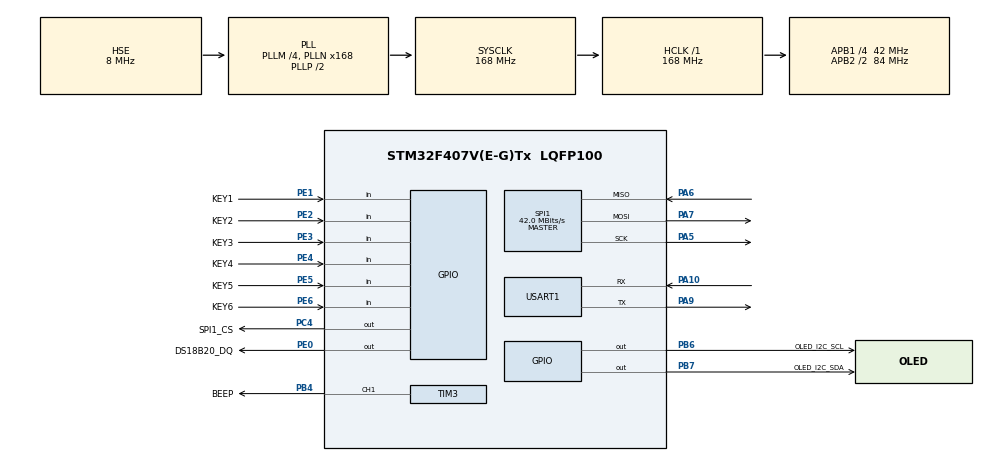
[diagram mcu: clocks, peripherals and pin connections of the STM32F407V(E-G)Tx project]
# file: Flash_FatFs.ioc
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Dma.Request0=USART1_RX
Dma.USART1_RX.0.Direction=DMA_PERIPH_TO_MEMORY
Dma.USART1_RX.0.FIFOMode=DMA_FIFOMODE_DISABLE
Dma.USART1_RX.0.Instance=DMA2_Stream2
Dma.USART1_RX.0.MemDataAlignment=DMA_MDATAALIGN_BYTE
Dma.USART1_RX.0.MemInc=DMA_MINC_ENABLE
Dma.USART1_RX.0.Mode=DMA_NORMAL
Dma.USART1_RX.0.PeriphDataAlignment=DMA_PDATAALIGN_BYTE
Dma.USART1_RX.0.PeriphInc=DMA_PINC_DISABLE
Dma.USART1_RX.0.Priority=DMA_PRIORITY_LOW
FATFS._MAX_SS=4096
FREERTOS.HEAP_NUMBER=3
FREERTOS.Tasks01=MainTask,32,2048,StartMainTask,Default,NULL,Dynamic,NULL,NULL;keyTask,24,2048,StartKeyTask,Default,NULL,Dynamic,NULL,NULL;beepTask,24,2048,StartBeepTask,Default,NULL,Dynamic,NULL,NULL;GUITask,8,2048,StartGUITask,Default,NULL,Dynamic,NULL,NULL;UartTask,24,2048,StartUartTask,Default,NULL,Dynamic,NULL,NULL
FREERTOS.configENABLE_FPU=0
FREERTOS.configTOTAL_HEAP_SIZE=80000
Mcu.Family=STM32F4
Mcu.Name=STM32F407V(E-G)Tx
Mcu.Package=LQFP100
NVIC.DMA2_Stream2_IRQn=true\:5\:0\:false\:false\:true\:true\:false\:true
NVIC.PriorityGroup=NVIC_PRIORITYGROUP_4
NVIC.TIM8_TRG_COM_TIM14_IRQn=true\:0\:0\:false\:false\:true\:false\:false\:true
NVIC.TimeBase=TIM8_TRG_COM_TIM14_IRQn
NVIC.TimeBaseIP=TIM14
NVIC.USART1_IRQn=true\:5\:0\:true\:false\:true\:false\:true\:true
PA10.Mode=Asynchronous
PA10.Signal=USART1_RX
PA13.Mode=Serial_Wire
PA13.Signal=SYS_JTMS-SWDIO
PA14.Mode=Serial_Wire
PA14.Signal=SYS_JTCK-SWCLK
PA5.Mode=Full_Duplex_Master
PA5.Signal=SPI1_SCK
PA6.Mode=Full_Duplex_Master
PA6.Signal=SPI1_MISO
PA7.Mode=Full_Duplex_Master
PA7.Signal=SPI1_MOSI
PA9.Mode=Asynchronous
PA9.Signal=USART1_TX
PB4.GPIO_Label=BEEP
PB4.Signal=S_TIM3_CH1
PB6.GPIO_Label=OLED_I2C_SCL
PB6.Signal=GPIO_Output
PB7.GPIO_Label=OLED_I2C_SDA
PB7.Signal=GPIO_Output
PC14-OSC32_IN.Mode=LSE-External-Oscillator
PC14-OSC32_IN.Signal=RCC_OSC32_IN
PC15-OSC32_OUT.Mode=LSE-External-Oscillator
PC15-OSC32_OUT.Signal=RCC_OSC32_OUT
PC4.GPIO_Label=SPI1_CS
PC4.PinState=GPIO_PIN_SET
PC4.Signal=GPIO_Output
PE0.GPIO_Label=DS18B20_DQ
PE0.Signal=GPIO_Output
PE1.GPIO_Label=KEY1
PE1.GPIO_PuPd=GPIO_PULLUP
PE1.Signal=GPIO_Input
PE2.GPIO_Label=KEY2
PE2.GPIO_PuPd=GPIO_PULLUP
PE2.Signal=GPIO_Input
PE3.GPIO_Label=KEY3
PE3.GPIO_PuPd=GPIO_PULLUP
PE3.Signal=GPIO_Input
PE4.GPIO_Label=KEY4
PE4.GPIO_PuPd=GPIO_PULLUP
PE4.Signal=GPIO_Input
PE5.GPIO_Label=KEY5
PE5.GPIO_PuPd=GPIO_PULLDOWN
PE5.Signal=GPIO_Input
PE6.GPIO_Label=KEY6
PE6.GPIO_PuPd=GPIO_PULLDOWN
PE6.Signal=GPIO_Input
PH0-OSC_IN.Mode=HSE-External-Oscillator
PH0-OSC_IN.Signal=RCC_OSC_IN
PH1-OSC_OUT.Mode=HSE-External-Oscillator
PH1-OSC_OUT.Signal=RCC_OSC_OUT
ProjectManager.HeapSize=0x4000
ProjectManager.StackSize=0x4000
ProjectManager.TargetToolchain=SW4STM32
RCC.48MHZClocksFreq_Value=84000000
RCC.AHBFreq_Value=168000000
RCC.APB1CLKDivider=RCC_HCLK_DIV4
RCC.APB1Freq_Value=42000000
RCC.APB1TimFreq_Value=84000000
RCC.APB2CLKDivider=RCC_HCLK_DIV2
RCC.APB2Freq_Value=84000000
RCC.APB2TimFreq_Value=168000000
RCC.CortexFreq_Value=168000000
RCC.HCLKFreq_Value=168000000
RCC.HSE_VALUE=8000000
RCC.HSI_VALUE=16000000
RCC.PLLM=4
RCC.PLLN=168
RCC.PLLSourceVirtual=RCC_PLLSOURCE_HSE
RCC.RCC_RTC_Clock_Source=RCC_RTCCLKSOURCE_LSE
RCC.SYSCLKFreq_VALUE=168000000
RCC.SYSCLKSource=RCC_SYSCLKSOURCE_PLLCLK
RCC.VCOOutputFreq_Value=336000000
RTC.Date=16
RTC.Format=RTC_FORMAT_BIN
RTC.Minutes=35
RTC.Month=RTC_MONTH_DECEMBER
RTC.WeekDay=RTC_WEEKDAY_WEDNESDAY
RTC.Year=20
SH.S_TIM3_CH1.0=TIM3_CH1,PWM Generation1 CH1
SPI1.CalculateBaudRate=42.0 MBits/s
SPI1.Direction=SPI_DIRECTION_2LINES
SPI1.Mode=SPI_MODE_MASTER
SPI1.VirtualType=VM_MASTER
TIM3.AutoReloadPreload=TIM_AUTORELOAD_PRELOAD_ENABLE
TIM3.Channel-PWM\ Generation1\ CH1=TIM_CHANNEL_1
TIM3.OCPolarity_1=TIM_OCPOLARITY_LOW
TIM3.Period=299
TIM3.Prescaler=83
TIM3.Pulse-PWM\ Generation1\ CH1=200
USART1.VirtualMode=VM_ASYNC
VP_FATFS_VS_Generic.Mode=User_defined
VP_FREERTOS_VS_CMSIS_V2.Mode=CMSIS_V2
VP_RTC_VS_RTC_Activate.Mode=RTC_Enabled
VP_RTC_VS_RTC_Calendar.Mode=RTC_Calendar
VP_SYS_VS_tim14.Mode=TIM14
board=custom

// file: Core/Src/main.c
/* USER CODE BEGIN Header */
/**
  ******************************************************************************
  * @file           : main.c
  * @brief          : Main program body
  ******************************************************************************
  * @attention
  *
  * <h2><center>&copy; Copyright (c) 2020 STMicroelectronics.
  * All rights reserved.</center></h2>
  *
  * This software component is licensed by ST under Ultimate Liberty license
  * SLA0044, the "License"; You may not use this file except in compliance with
  * the License. You may obtain a copy of the License at:
  *                             www.st.com/SLA0044
  *
  ******************************************************************************
  */
/* USER CODE END Header */
#include "main.h"
#include "cmsis_os.h"
#include "dma.h"
#include "fatfs.h"
#include "rtc.h"
#include "spi.h"
#include "tim.h"
#include "usart.h"
#include "gpio.h"

/* USER CODE BEGIN Includes */
#include <stdio.h>
#include <string.h>
#include <stdbool.h>
#include "w25qxx.h"
/* USER CODE END Includes */

/* USER CODE BEGIN PD */
#define testW25Q128 0
#define testFATFS 0
/* USER CODE END PD */

void SystemClock_Config(void);
void MX_FREERTOS_Init(void);

/* USER CODE BEGIN 0 */
void TestW25Q128(void) {
    uint8_t dat[4096] = "1234567890-1234567890-1234567890-1234567890-1234567890-\0";
    uint8_t read_buf[4096] = {0};
    uint16_t i;
    uint16_t *pDat = (uint16_t *) dat;
    for (i = 0; i < sizeof(dat) / 2; ++i) {
        pDat[i] = i * i;
    }

    W25QXX_Init(); //初始化FLASH器件，读取器件ID，以此判断器件型号
    uint16_t device_id = W25QXX_ReadID();
    printf("device_id = 0x%04X\r\n", device_id);
    HAL_Delay(500);
    uint32_t addr;
    for (int j = 0; j < 1; ++j) {//只测试一个扇区
        addr = 0x1000 * j;
        //读扇区
        printf("Read data before write \r\n");
        memset(read_buf, 0, sizeof(read_buf));
        W25QXX_Read(read_buf, addr, sizeof(read_buf));
        printf("read data is:\r\n");
        for (i = 0; i < sizeof(read_buf); ++i) {
            printf("%02X ", read_buf[i]);
        }
        printf("\r\n");
        HAL_Delay(20);

        //擦除该扇区
        printf("Erase sector %lu\r\n", addr / 0x1000);
        W25QXX_Erase_Sector(addr);
        HAL_Delay(20);
        //写数据
        printf("Write data\r\n");
        W25QXX_Write(dat, addr, sizeof(dat));
        HAL_Delay(20);

        //再次读数据
        printf("Read data after write\r\n");
        memset(read_buf, 0, sizeof(read_buf));
        W25QXX_Read(read_buf, addr, sizeof(read_buf));
        printf("read data is:\r\n");
        for (i = 0; i < sizeof(read_buf); ++i) {
            printf("%02X ", read_buf[i]);
        }
        printf("\r\n");
        HAL_Delay(20);

        uint8_t chkok = 1;
        for (i = 0; i < sizeof(dat); ++i) {
            if (dat[i] != read_buf[i]) {
                chkok = 0;
                break;
            }
        }
        printf("sector %lu write %s!\r\n", addr / 0x1000, chkok ? "ok" : "error");
        if (!chkok) {
            break;
        }
    }
}

void fs_test(void) {
    BYTE work[4096]; // FATFS工作缓冲区
    FATFS fs;//文件系统对象
    FIL fil;//文件对象
    FRESULT res;//操作返回结果
    UINT i;//临时变量
    BYTE mm[500];// 临时数组

    res = f_mount(&fs, "0:", 1);
    if (res == 0X0D) { // FLASH磁盘,FAT文件系统错误，重新格式化FLASH
        printf("Flash Disk Formatting...\r\n");//格式化FLASH
        res = f_mkfs("0:", FM_ANY, 0, work, sizeof(work));
        if (res != FR_OK) {
            printf("mkfs error.\r\n");
        }
    }
    if (res == FR_OK) {
        printf("FATFS Init ok!\r\n");
    }

    res = f_open(&fil, "0:/test.txt", FA_CREATE_NEW);
    if (res != FR_OK && res != FR_EXIST) {
        printf("create file error.\r\n");
    }
    if (res == FR_EXIST) {
        res = f_open(&fil, "0:/test.txt", FA_WRITE | FA_READ | FA_OPEN_APPEND);
    }
    if (res != FR_OK) {
        printf("open file error.\r\n");
    } else {
        printf("open file ok.\r\n");
        f_puts("Hello, World!\r\n你好世界\r\n", &fil);
        printf("file size:%lu Bytes.\r\n", f_size(&fil));

        memset(mm, 0x0, 500);
        f_lseek(&fil, 0);
        res = f_read(&fil, mm, 500, &i);
        if (res == FR_OK) {
            printf("read size:%d Bytes.\r\n%s", i, mm);
        } else {
            printf("read error!\r\n");
        }
        f_close(&fil);
    }
    /*卸载文件系统*/
    f_mount(0, "0:", 0);
}

void fs_Init(bool breset) {
    BYTE work[4096]; // FATFS工作缓冲区
    FATFS fs;//文件系统对象
    FIL fil;//文件对象
    FRESULT res;//操作返回结果

    res = f_mount(&fs, "0:", 1);
    if (res == 0X0D) { // FLASH磁盘,FAT文件系统错误，重新格式化FLASH
        printf("Flash Disk Formatting...\r\n");//格式化FLASH
        res = f_mkfs("0:", FM_ANY, 0, work, sizeof(work));
        if (res != FR_OK) {
            printf("mkfs error.\r\n");
        }
    }
    if (res == FR_OK) {
        printf("FATFS Init ok!\r\n");
    }

    if (breset) {
        res = f_open(&fil, "0:/alarm.txt", FA_CREATE_ALWAYS);
    } else {
        res = f_open(&fil, "0:/alarm.txt", FA_CREATE_NEW);
    }
    if (res != FR_OK && res != FR_EXIST) {
        printf("create file error.\r\n");
    } else {
        printf("create alarm.txt ok\r\n");
        f_close(&fil);
    }

    if (breset) {
        res = f_open(&fil, "0:/para.txt", FA_CREATE_ALWAYS);
    } else {
        res = f_open(&fil, "0:/para.txt", FA_CREATE_NEW);
    }
    if (res != FR_OK && res != FR_EXIST) {
        printf("create file error.\r\n");
    } else {
        printf("create para.txt ok\r\n");
        f_close(&fil);
    }
}

/* USER CODE END 0 */

int main(void)
{

  /* MCU Configuration--------------------------------------------------------*/

  /* Reset of all peripherals, Initializes the Flash interface and the Systick. */
  HAL_Init();

  /* Configure the system clock */
  SystemClock_Config();

  /* Initialize all configured peripherals */
  MX_GPIO_Init();
  MX_DMA_Init();
  MX_USART1_UART_Init();
  MX_TIM3_Init();
  MX_SPI1_Init();
  MX_FATFS_Init();
  MX_RTC_Init();
  /* USER CODE BEGIN 2 */
    HAL_Delay(1000);
#if testW25Q128
    TestW25Q128();
#endif
#if testFATFS
    fs_test();
    HAL_Delay(10000);
#endif
    fs_Init(false);
  /* USER CODE END 2 */

  /* Init scheduler */
  osKernelInitialize();  /* Call init function for freertos objects (in freertos.c) */
  MX_FREERTOS_Init();
  /* Start scheduler */
  osKernelStart();

  /* We should never get here as control is now taken by the scheduler */
  /* Infinite loop */
    while (1) {

    }
}

void SystemClock_Config(void)
{
  RCC_OscInitTypeDef RCC_OscInitStruct = {0};
  RCC_ClkInitTypeDef RCC_ClkInitStruct = {0};
  RCC_PeriphCLKInitTypeDef PeriphClkInitStruct = {0};

  /** Configure the main internal regulator output voltage
  */
  __HAL_RCC_PWR_CLK_ENABLE();
  __HAL_PWR_VOLTAGESCALING_CONFIG(PWR_REGULATOR_VOLTAGE_SCALE1);
  /** Initializes the RCC Oscillators according to the specified parameters
  * in the RCC_OscInitTypeDef structure.
  */
  RCC_OscInitStruct.OscillatorType = RCC_OSCILLATORTYPE_HSE|RCC_OSCILLATORTYPE_LSE;
  RCC_OscInitStruct.HSEState = RCC_HSE_ON;
  RCC_OscInitStruct.LSEState = RCC_LSE_ON;
  RCC_OscInitStruct.PLL.PLLState = RCC_PLL_ON;
  RCC_OscInitStruct.PLL.PLLSource = RCC_PLLSOURCE_HSE;
  RCC_OscInitStruct.PLL.PLLM = 4;
  RCC_OscInitStruct.PLL.PLLN = 168;
  RCC_OscInitStruct.PLL.PLLP = RCC_PLLP_DIV2;
  RCC_OscInitStruct.PLL.PLLQ = 4;
  if (HAL_RCC_OscConfig(&RCC_OscInitStruct) != HAL_OK)
  {
    Error_Handler();
  }
  /** Initializes the CPU, AHB and APB buses clocks
  */
  RCC_ClkInitStruct.ClockType = RCC_CLOCKTYPE_HCLK|RCC_CLOCKTYPE_SYSCLK
                              |RCC_CLOCKTYPE_PCLK1|RCC_CLOCKTYPE_PCLK2;
  RCC_ClkInitStruct.SYSCLKSource = RCC_SYSCLKSOURCE_PLLCLK;
  RCC_ClkInitStruct.AHBCLKDivider = RCC_SYSCLK_DIV1;
  RCC_ClkInitStruct.APB1CLKDivider = RCC_HCLK_DIV4;
  RCC_ClkInitStruct.APB2CLKDivider = RCC_HCLK_DIV2;

  if (HAL_RCC_ClockConfig(&RCC_ClkInitStruct, FLASH_LATENCY_5) != HAL_OK)
  {
    Error_Handler();
  }
  PeriphClkInitStruct.PeriphClockSelection = RCC_PERIPHCLK_RTC;
  PeriphClkInitStruct.RTCClockSelection = RCC_RTCCLKSOURCE_LSE;
  if (HAL_RCCEx_PeriphCLKConfig(&PeriphClkInitStruct) != HAL_OK)
  {
    Error_Handler();
  }
}

 /**
  * @brief  Period elapsed callback in non blocking mode
  * @note   This function is called  when TIM14 interrupt took place, inside
  * HAL_TIM_IRQHandler(). It makes a direct call to HAL_IncTick() to increment
  * a global variable "uwTick" used as application time base.
  * @param  htim : TIM handle
  * @retval None
  */
void HAL_TIM_PeriodElapsedCallback(TIM_HandleTypeDef *htim)
{
  if (htim->Instance == TIM14) {
    HAL_IncTick();
  }
}

void Error_Handler(void)
{
    __disable_irq();
    while (1) {
    }
}

/************************ (C) COPYRIGHT STMicroelectronics *****END OF FILE****/

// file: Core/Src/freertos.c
/* USER CODE BEGIN Header */
/**
  ******************************************************************************
  * File Name          : freertos.c
  * Description        : Code for freertos applications
  ******************************************************************************
  * @attention
  *
  * <h2><center>&copy; Copyright (c) 2020 STMicroelectronics.
  * All rights reserved.</center></h2>
  *
  * This software component is licensed by ST under Ultimate Liberty license
  * SLA0044, the "License"; You may not use this file except in compliance with
  * the License. You may obtain a copy of the License at:
  *                             www.st.com/SLA0044
  *
  ******************************************************************************
  */
/* USER CODE END Header */

#include "FreeRTOS.h"
#include "task.h"
#include "main.h"
#include "cmsis_os.h"

/* USER CODE BEGIN Includes */
#include <stdio.h>
#include <string.h>
#include <stdbool.h>
#include <stdlib.h>
#include "tim.h"
#include "GUI.h"
#include "DS_18B20.h"
#include "usart.h"
#include "w25qxx.h"
#include "fatfs.h"
#include "rtc.h"
/* USER CODE END Includes */

/* USER CODE BEGIN PTD */
extern GUI_CONST_STORAGE GUI_BITMAP bmCN_bilibiliB;
extern GUI_FLASH const GUI_FONT GUI_FontHZ_SimSun_12;
/* USER CODE END PTD */

/* USER CODE BEGIN PD */
#define SET_ADDR (10 * 4096)
/* USER CODE END PD */

/* USER CODE BEGIN Variables */
bool beep_switch = false;
bool saveUartData_flag = false;

float temp;
int temp_max = 40;
int alarm_time = 5;
/* USER CODE END Variables */
/* Definitions for MainTask */
osThreadId_t MainTaskHandle;
const osThreadAttr_t MainTask_attributes = {
        .name = "MainTask",
        .priority = (osPriority_t) osPriorityAboveNormal,
        .stack_size = 2048 * 4
};
/* Definitions for keyTask */
osThreadId_t keyTaskHandle;
const osThreadAttr_t keyTask_attributes = {
        .name = "keyTask",
        .priority = (osPriority_t) osPriorityNormal,
        .stack_size = 2048 * 4
};
/* Definitions for beepTask */
osThreadId_t beepTaskHandle;
const osThreadAttr_t beepTask_attributes = {
        .name = "beepTask",
        .priority = (osPriority_t) osPriorityNormal,
        .stack_size = 2048 * 4
};
/* Definitions for GUITask */
osThreadId_t GUITaskHandle;
const osThreadAttr_t GUITask_attributes = {
        .name = "GUITask",
        .priority = (osPriority_t) osPriorityLow,
        .stack_size = 2048 * 4
};
/* Definitions for UartTask */
osThreadId_t UartTaskHandle;
const osThreadAttr_t UartTask_attributes = {
        .name = "UartTask",
        .priority = (osPriority_t) osPriorityNormal,
        .stack_size = 2048 * 4
};

/* USER CODE BEGIN FunctionPrototypes */
void SaveAlarmSet(uint32_t addr, int setval);

int LoadAlarmSet(uint32_t addr);

void SavePara(void);

void LoadPara(void);

void SaveAlarm(float alarm_temp);

void PrintfAlarm(void);

void SaveUartData(uint8_t *recv, int len);

void PrintfUartData(void);

/* USER CODE END FunctionPrototypes */

void StartMainTask(void *argument);

void StartKeyTask(void *argument);

void StartBeepTask(void *argument);

void StartGUITask(void *argument);

void StartUartTask(void *argument);

void MX_FREERTOS_Init(void); /* (MISRA C 2004 rule 8.1) */

void MX_FREERTOS_Init(void) {

    /* Create the thread(s) */
    /* creation of MainTask */
    MainTaskHandle = osThreadNew(StartMainTask, NULL, &MainTask_attributes);

    /* creation of keyTask */
    keyTaskHandle = osThreadNew(StartKeyTask, NULL, &keyTask_attributes);

    /* creation of beepTask */
    beepTaskHandle = osThreadNew(StartBeepTask, NULL, &beepTask_attributes);

    /* creation of GUITask */
    GUITaskHandle = osThreadNew(StartGUITask, NULL, &GUITask_attributes);

    /* creation of UartTask */
    UartTaskHandle = osThreadNew(StartUartTask, NULL, &UartTask_attributes);

}

void StartMainTask(void *argument) {
    /* USER CODE BEGIN StartMainTask */
    ds18b20_init();
    W25QXX_Init();
    printf("W25QXX FLASH ID = 0x%04X\r\n", W25QXX_ReadID());
    int val = LoadAlarmSet(SET_ADDR);
    if (val > -55 && val < 125) {
        temp_max = val;
        printf("temp max = %d C\r\n", temp_max);
    }

    LoadPara();

    uint32_t tick = 0;
    uint32_t tick2 = 0;
    /* Infinite loop */
    for (;;) {
        if (osKernelGetTickCount() >= tick) {//100ms 读取一次
            tick = osKernelGetTickCount() + 100;
            temp = ds18b20_read();
//            printf("temperature = %5.1f C\r\n", temp);

            if (temp > temp_max) {
                beep_switch = true;
            } else {
                beep_switch = false;
            }
        }

        if (osKernelGetTickCount() > tick2 + 1000) {
            tick2 = osKernelGetTickCount();
            ReadRTCDateTime();
        }

        osDelay(1);
    }
    /* USER CODE END StartMainTask */
}

void StartKeyTask(void *argument) {
    /* USER CODE BEGIN StartKeyTask */
    uint8_t key_state;
    /* Infinite loop */
    for (;;) {
        //扫描按键
        key_state = 0;
        if (HAL_GPIO_ReadPin(KEY1_GPIO_Port, KEY1_Pin) == GPIO_PIN_RESET) {
            osDelay(10);
            if (HAL_GPIO_ReadPin(KEY1_GPIO_Port, KEY1_Pin) == GPIO_PIN_RESET) {
                key_state = 1;
            }
            while (HAL_GPIO_ReadPin(KEY1_GPIO_Port, KEY1_Pin) == GPIO_PIN_RESET) {
                osDelay(1);
            }
        } else if (HAL_GPIO_ReadPin(KEY2_GPIO_Port, KEY2_Pin) == GPIO_PIN_RESET) {
            osDelay(10);
            if (HAL_GPIO_ReadPin(KEY2_GPIO_Port, KEY2_Pin) == GPIO_PIN_RESET) {
                key_state = 2;
            }
            while (HAL_GPIO_ReadPin(KEY2_GPIO_Port, KEY2_Pin) == GPIO_PIN_RESET) {
                osDelay(1);
            }
        } else if (HAL_GPIO_ReadPin(KEY3_GPIO_Port, KEY3_Pin) == GPIO_PIN_RESET) {
            osDelay(10);
            if (HAL_GPIO_ReadPin(KEY3_GPIO_Port, KEY3_Pin) == GPIO_PIN_RESET) {
                key_state = 3;
            }
            while (HAL_GPIO_ReadPin(KEY3_GPIO_Port, KEY3_Pin) == GPIO_PIN_RESET) {
                osDelay(1);
            }
        } else if (HAL_GPIO_ReadPin(KEY4_GPIO_Port, KEY4_Pin) == GPIO_PIN_RESET) {
            osDelay(10);
            if (HAL_GPIO_ReadPin(KEY4_GPIO_Port, KEY4_Pin) == GPIO_PIN_RESET) {
                key_state = 4;
            }
            while (HAL_GPIO_ReadPin(KEY4_GPIO_Port, KEY4_Pin) == GPIO_PIN_RESET) {
                osDelay(1);
            }
        } else if (HAL_GPIO_ReadPin(KEY5_GPIO_Port, KEY5_Pin) == GPIO_PIN_SET) {
            osDelay(10);
            if (HAL_GPIO_ReadPin(KEY5_GPIO_Port, KEY5_Pin) == GPIO_PIN_SET) {
                key_state = 5;
            }
            while (HAL_GPIO_ReadPin(KEY5_GPIO_Port, KEY5_Pin) == GPIO_PIN_SET) {
                osDelay(1);
            }
        } else if (HAL_GPIO_ReadPin(KEY6_GPIO_Port, KEY6_Pin) == GPIO_PIN_SET) {
            osDelay(10);
            if (HAL_GPIO_ReadPin(KEY6_GPIO_Port, KEY6_Pin) == GPIO_PIN_SET) {
                key_state = 6;
            }
            while (HAL_GPIO_ReadPin(KEY6_GPIO_Port, KEY6_Pin) == GPIO_PIN_SET) {
                osDelay(1);
            }
        }

        //按键触发控制
        switch (key_state) {
            case 1://增加温度上限
                temp_max++;
                SaveAlarmSet(SET_ADDR, temp_max);
                SavePara();
                break;

            case 2://减少温度上限
                temp_max--;
                SaveAlarmSet(SET_ADDR, temp_max);
                SavePara();
                break;

            case 3://打印报警记录
                PrintfAlarm();
                break;

            case 4://存储串口数据
                f_unlink("0:/recv.txt");
                printf("Please send data from uart\r\n");
                saveUartData_flag = true;
                break;

            case 5://打印存储的串口数据
                if (saveUartData_flag == false) {
                    PrintfUartData();
                }
                break;

            case 6:
                break;

            default:
                break;
        }
        osDelay(1);
    }
    /* USER CODE END StartKeyTask */
}

void StartBeepTask(void *argument) {
    /* USER CODE BEGIN StartBeepTask */
    uint32_t tick = osKernelGetTickCount() + 5000;
    /* Infinite loop */
    for (;;) {
        if (beep_switch == true) {
            if (osKernelGetTickCount() >= tick) {//报警一次嘀嘀嘀
                for (int i = 0; i < 3; ++i) {
                    HAL_TIM_PWM_Start(&htim3, TIM_CHANNEL_1);//使能输出
                    osDelay(100);
                    HAL_TIM_PWM_Stop(&htim3, TIM_CHANNEL_1);
                    osDelay(100);
                }
                printf("The current temperature is too high!(%5.1f C)\r\n", temp);
                SaveAlarm(temp);
                tick = osKernelGetTickCount() + alarm_time * 1000;
            }
        }
        osDelay(1);
    }
    /* USER CODE END StartBeepTask */
}

void StartGUITask(void *argument) {
    /* USER CODE BEGIN StartGUITask */
    char show_data[30];

    GUI_Init();
    GUI_DrawBitmap(&bmCN_bilibiliB, 0, 0);
    GUI_Update();//刷新显示
    osDelay(1000);
    GUI_Clear();
    GUI_SetFont(&GUI_FontHZ_SimSun_12);
    GUI_DispString("学号姓名界面\n");
    GUI_DispStringAt("学号：18042209\n", 0, 20);
    GUI_DispString("姓名：陈俊煜\n");
    GUI_DispString("课程：嵌入式系统实验\n");
    GUI_Update();//刷新显示
    osDelay(1000);

    uint32_t tick = osKernelGetTickCount() + 100;
    /* Infinite loop */
    for (;;) {
        if (osKernelGetTickCount() >= tick) {//100ms 显示一次
            tick = osKernelGetTickCount() + 100;
            GUI_Clear();
            sprintf(show_data, "%d.%d.%d %02d:%02d:%02d", RTC_Year, RTC_Mon, RTC_Dat, RTC_Hour, RTC_Min, RTC_Sec);
            GUI_DispStringAt(show_data, 0, 0);
            sprintf(show_data, "温度：%5.1f ℃", temp);
            GUI_DispStringAt(show_data, 0, 16);
            sprintf(show_data, "<温度上限>：%3d ℃", temp_max);
            GUI_DispStringAt(show_data, 0, 32);
            sprintf(show_data, "<报警间隔>：%3d 秒", alarm_time);
            GUI_DispStringAt(show_data, 0, 48);
            GUI_Update();//刷新显示
        }
        osDelay(1);
    }
    /* USER CODE END StartGUITask */
}

void StartUartTask(void *argument) {
    /* USER CODE BEGIN StartUartTask */
    uint32_t tick = 0;

    __HAL_UART_ENABLE_IT(&huart1, UART_IT_IDLE);//使能idle中断
    HAL_UART_Receive_DMA(&huart1, dma_buf, MAX_BUF_LEN);
    /* Infinite loop */
    for (;;) {
        if (saveUartData_flag) {
            if (recv_len > 0) {
                tick = osKernelGetTickCount();
//                printf("%s", dma_buf);
                SaveUartData(dma_buf, recv_len);
                recv_len = 0;
            }
            if (osKernelGetTickCount() > tick + 1000 && tick > 0) {
                tick = 0;
                saveUartData_flag = false;
            }
        } else {
            if (recv_len > 0) {
//          printf("%s", dma_buf);
                if (strstr((char *) dma_buf, "Set Temp Max = ") != NULL) {
                    int recv_temp_max = atoi((char *) dma_buf + 15);
                    if (recv_temp_max >= -10 && recv_temp_max <= 100) {
                        temp_max = recv_temp_max;
                        SavePara();
                    } else {
                        printf("Please check the input! (Temp Max min is -10 and max is 100)\r\n");
                    }
                } else if (strstr((char *) dma_buf, "Set Alarm time = ") != NULL) {
                    int time = atoi((char *) dma_buf + 17);
                    if (time >= 1 && time <= 60) {
                        alarm_time = time;
                        SavePara();
                    } else {
                        printf("Please check the input! (Alarm time min is 1 and max is 60)\r\n");
                    }
                } else {
                    printf("Please check the input! (Example:Set Temp Max = 40 or Set Alarm time = 5)\r\n");
                }
                recv_len = 0;
            }
        }
        osDelay(1);
    }
    /* USER CODE END StartUartTask */
}

/* USER CODE BEGIN Application */
void SaveAlarmSet(uint32_t addr, int setval) {
    W25QXX_Write((uint8_t *) (&setval), addr, sizeof(setval));
}

int LoadAlarmSet(uint32_t addr) {
    int val = 0;
    W25QXX_Read((uint8_t *) (&val), addr, sizeof(val));

    return val;
}

void SavePara(void) {
    FIL fil;//文件对象
    FRESULT res;//操作返回结果

    res = f_open(&fil, "0:/para.txt", FA_WRITE | FA_OPEN_ALWAYS);
    if (res != FR_OK) {
        printf("open file error.\r\n");
    } else {
        f_lseek(&fil, 0);
        f_printf(&fil, "ALARM_MAX:%d\r\n", temp_max);
        f_printf(&fil, "ALARM_TIME:%d\r\n", alarm_time);
        f_close(&fil);
    }
}

void LoadPara(void) {
    FIL fil;//文件对象
    FRESULT res;//操作返回结果
    char buf[50];

    res = f_open(&fil, "0:/para.txt", FA_READ | FA_OPEN_ALWAYS);
    if (res != FR_OK) {
        printf("open file error.\r\n");
    } else {
        f_lseek(&fil, 0);
        while (f_gets(buf, 50, &fil)) {
            if (strstr(buf, "ALARM_MAX:") != NULL) {
                int recv_temp_max = atoi(buf + 10);
                if (recv_temp_max >= -10 && recv_temp_max <= 100) {
                    temp_max = recv_temp_max;
                } else {
                    printf("temp_max load error!\r\n");
                }
            } else if (strstr(buf, "ALARM_TIME:") != NULL) {
                int time = atoi(buf + 11);
                if (time >= 1 && time <= 60) {
                    alarm_time = time;
                } else {
                    printf("alarm_time load error!\r\n");
                }
            } else {
                printf("load error!\r\n");
            }
        }
        f_close(&fil);
    }
}

void SaveAlarm(float alarm_temp) {
    FIL fil;//文件对象
    FRESULT res;//操作返回结果
    char buf[100];

    res = f_open(&fil, "0:/alarm.txt", FA_WRITE | FA_OPEN_APPEND);
    if (res != FR_OK) {
        printf("open file error.\r\n");
    } else {
        sprintf(buf, "%5.1f C(%4d.%2d.%2d %02d:%02d:%02d)\r\n", alarm_temp, RTC_Year, RTC_Mon, RTC_Dat, RTC_Hour,
                RTC_Min, RTC_Sec);
        f_puts(buf, &fil);
        f_close(&fil);
    }
}

void PrintfAlarm(void) {
    FIL fil;//文件对象
    FRESULT res;//操作返回结果
    char buf[100];

    res = f_open(&fil, "0:/alarm.txt", FA_READ | FA_OPEN_ALWAYS);
    if (res != FR_OK) {
        printf("open file error.\r\n");
    } else {
        f_lseek(&fil, 0);
        while (f_gets(buf, 100, &fil)) {
            char temp_buf[10];
            strncpy(temp_buf, buf + 19, 2);
            int temp_hour = atoi(temp_buf);
            strncpy(temp_buf, buf + 22, 2);
            int temp_min = atoi(temp_buf);
            strncpy(temp_buf, buf + 25, 2);
            int temp_sec = atoi(temp_buf);

            uint32_t rtc_time = RTC_Hour * 3600 + RTC_Min * 60 + RTC_Sec;
            uint32_t temp_time = temp_hour * 3600 + temp_min * 60 + temp_sec;
            if (rtc_time - temp_time <= 60) {
                printf("%s", buf);
            }
        }
        f_close(&fil);
    }
}

void SaveUartData(uint8_t *recv, int len) {
    FIL fil;//文件对象
    FRESULT res;//操作返回结果

    res = f_open(&fil, "0:/recv.txt", FA_OPEN_ALWAYS | FA_WRITE | FA_OPEN_APPEND);
    if (res != FR_OK) {
        printf("open file error.\r\n");
    } else {
        UINT bw;
        f_write(&fil, recv, len, &bw);
        f_close(&fil);
    }
}

void PrintfUartData(void) {
    FIL fil;//文件对象
    FRESULT res;//操作返回结果
    char buf[200];

    res = f_open(&fil, "0:/recv.txt", FA_READ | FA_OPEN_ALWAYS);
    if (res != FR_OK) {
        printf("open file error.\r\n");
    } else {
        f_lseek(&fil, 0);
        while (f_gets(buf, 200, &fil)) {
            printf("%s\r\n", buf);
        }
        f_close(&fil);
    }
}
/* USER CODE END Application */

/************************ (C) COPYRIGHT STMicroelectronics *****END OF FILE****/
